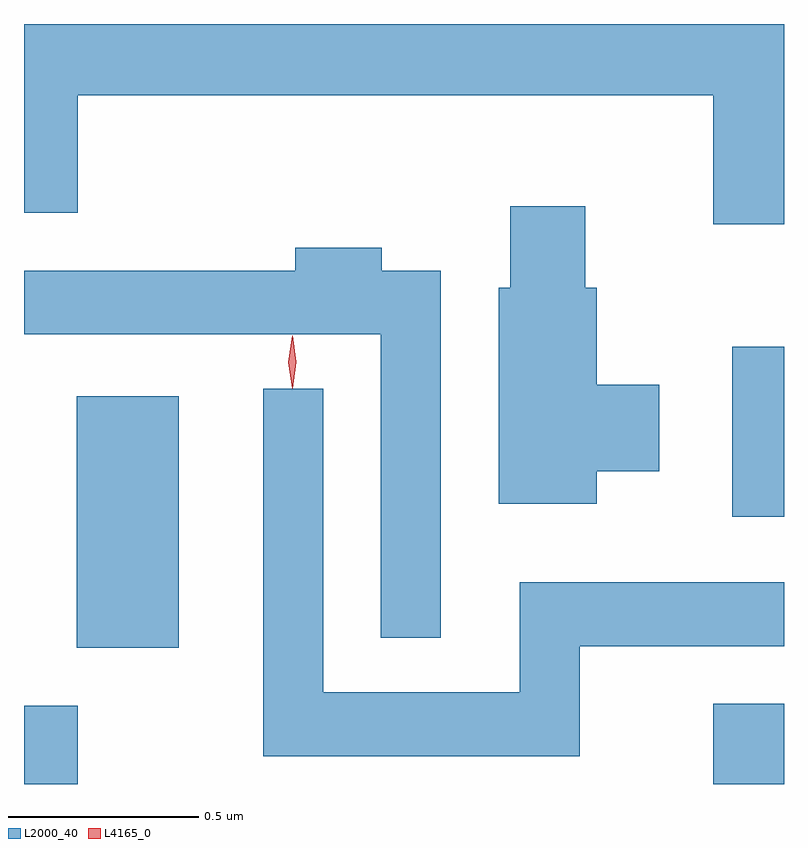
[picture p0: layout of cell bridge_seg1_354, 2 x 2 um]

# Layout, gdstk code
import gdstk
lib = gdstk.Library(unit=1e-6, precision=1e-09)
def R(c, l, rs):  # rectangles x0, y0, x1, y1
    for r in rs: c.add(gdstk.rectangle(r[:2], r[2:], *l))
def P(c, l, *ps):  # polygons
    for p in ps: c.add(gdstk.Polygon(p, *l))
L2000_40 = (2000, 40)
L4165_0 = (4165, 0)

bridge_seg1_354 = lib.new_cell('bridge_seg1_354')
R(bridge_seg1_354, L2000_40, [(927.007,880.003,927.149,880.209), (928.821,880.003,929.007,880.214), (927.146,880.361,927.414,881.024), (928.871,880.706,929.007,881.154)])
P(bridge_seg1_354, L2000_40, [(929.007,882.003),(927.007,882.003),(927.007,881.506),(927.149,881.506),(927.149,881.816),(928.821,881.816),(928.821,881.476),(929.007,881.476)],
  [(928.514,880.826),(928.679,880.826),(928.679,881.054),(928.514,881.054),(928.514,881.309),(928.484,881.309),(928.484,881.524),(928.286,881.524),(928.286,881.309),(928.256,881.309),(928.256,880.741),(928.514,880.741)],
  [(928.104,881.354),(927.949,881.354),(927.949,881.414),(927.721,881.414),(927.721,881.354),(927.007,881.354),(927.007,881.186),(927.946,881.186),(927.946,880.388),(928.104,880.388)],
  [(928.469,880.366),(929.007,880.366),(929.007,880.534),(928.311,880.534),(928.311,880.244),(927.794,880.244),(927.794,881.043),(927.636,881.043),(927.636,880.076),(928.469,880.076)])
P(bridge_seg1_354, L4165_0, [(927.713,881.043),(927.713,881.044),(927.703,881.113),(927.713,881.182),(927.713,881.183),(927.714,881.182),(927.723,881.113),(927.714,881.044)],
  [(927.713,881.047),(927.704,881.114),(927.713,881.18),(927.714,881.18),(927.714,881.18),(927.724,881.114),(927.714,881.047),(927.714,881.047)])

lib.write_gds('bridge_seg1_354.gds')
